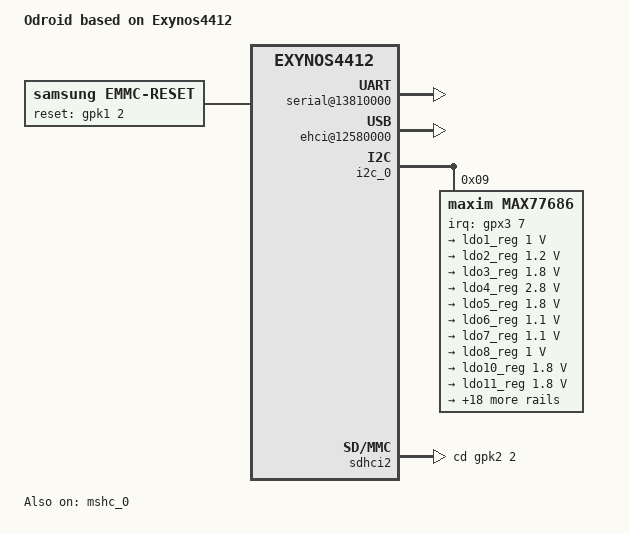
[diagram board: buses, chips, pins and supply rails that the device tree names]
// SPDX-License-Identifier: GPL-2.0+
/*
 * Odroid-U3/X2 board device tree source
 *
 * Copyright (c) 2014 Samsung Electronics Co., Ltd.
 *		http://www.samsung.com
 */

/dts-v1/;
#include "exynos4412.dtsi"

/ {
	model = "Odroid based on Exynos4412";
	compatible = "samsung,odroid", "samsung,exynos4412";

	aliases {
		serial0 = "/serial@13800000";
		console = "/serial@13810000";
		mmc0 = &mshc_0;
		mmc1 = &sdhci2;
	};

	serial@13810000 {
		status = "okay";
	};

	ehci@12580000 {
		compatible = "samsung,exynos-ehci";
		reg = <0x12580000 0x100>;
		#address-cells = <1>;
		#size-cells = <1>;
		phy {
			compatible = "samsung,exynos-usb-phy";
			reg = <0x125B0000 0x100>;
		};
	};

	emmc-reset {
		compatible = "samsung,emmc-reset";
		reset-gpio = <&gpk1 2 0>;
	};
};

&i2c_0 {
	samsung,i2c-sda-delay = <100>;
	samsung,i2c-slave-addr = <0x10>;
	samsung,i2c-max-bus-freq = <100000>;
	status = "okay";

	max77686: max77686_pmic@09 {
		compatible = "maxim,max77686";
		interrupt-parent = <&gpx3>;
		interrupts = <7 0>;
		reg = <0x09 0 0>;
		#clock-cells = <1>;

		voltage-regulators {
			ldo1_reg: LDO1 {
				regulator-name = "VDD_ALIVE_1.0V";
				regulator-min-microvolt = <1000000>;
				regulator-max-microvolt = <1000000>;
			};

			ldo2_reg: LDO2 {
				regulator-name = "VDDQ_VM1M2_1.2V";
				regulator-min-microvolt = <1200000>;
				regulator-max-microvolt = <1200000>;
			};

			ldo3_reg: LDO3 {
				regulator-name = "VCC_1.8V_AP";
				regulator-min-microvolt = <1800000>;
				regulator-max-microvolt = <1800000>;
			};

			ldo4_reg: LDO4 {
				regulator-name = "VDDQ_MMC2_2.8V";
				regulator-min-microvolt = <2800000>;
				regulator-max-microvolt = <2800000>;
			};

			ldo5_reg: LDO5 {
				regulator-name = "VDDQ_MMC0/1/3_1.8V";
				regulator-min-microvolt = <1800000>;
				regulator-max-microvolt = <1800000>;
			};

			ldo6_reg: LDO6 {
				regulator-name = "VMPLL_1.0V";
				regulator-min-microvolt = <1100000>;
				regulator-max-microvolt = <1100000>;
			};

			ldo7_reg: LDO7 {
				regulator-name = "VPLL_1.1V";
				regulator-min-microvolt = <1100000>;
				regulator-max-microvolt = <1100000>;
			};

			ldo8_reg: LDO8 {
				regulator-name = "VDD_MIPI/HDMI_1.0V";
				regulator-min-microvolt = <1000000>;
				regulator-max-microvolt = <1000000>;
			};

			ldo10_reg: LDO10 {
				regulator-name = "VDD_MIPI/HDMI_1.8V";
				regulator-min-microvolt = <1800000>;
				regulator-max-microvolt = <1800000>;
			};

			ldo11_reg: LDO11 {
				regulator-name = "VDD_ABB1_1.8V";
				regulator-min-microvolt = <1800000>;
				regulator-max-microvolt = <1800000>;
			};

			ldo12_reg: LDO12 {
				regulator-name = "VDD_UOTG_3.0V";
				regulator-min-microvolt = <3000000>;
				regulator-max-microvolt = <3000000>;
			};

			ldo13_reg: LDO13 {
				regulator-name = "VDD_C2C_1.8V";
				regulator-min-microvolt = <1800000>;
				regulator-max-microvolt = <1800000>;
			};

			ldo14_reg: LDO14 {
				regulator-name = "VDD_ABB02_1.8V";
				regulator-min-microvolt = <1800000>;
				regulator-max-microvolt = <1800000>;
			};

			ldo15_reg: LDO15 {
				regulator-name = "VDD_HSIC/OTG_1.0V";
				regulator-min-microvolt = <1000000>;
				regulator-max-microvolt = <1000000>;
			};

			ldo16_reg: LDO16 {
				regulator-name = "VDD_HSIC_1.8V";
				regulator-min-microvolt = <1800000>;
				regulator-max-microvolt = <1800000>;
			};

			ldo17_reg: LDO17 {
				regulator-name = "VDDQ_CAM_1.2V";
				regulator-min-microvolt = <1200000>;
				regulator-max-microvolt = <1200000>;
			};

			ldo20_reg: LDO20 {
				regulator-name = "VDDQ_EMMC_1.8V";
				regulator-min-microvolt = <1800000>;
				regulator-max-microvolt = <1800000>;
				regulator-always-on;
				regulator-boot-on;
			};

			ldo21_reg: LDO21 {
				regulator-name = "TFLASH_2.8V";
				regulator-min-microvolt = <2800000>;
				regulator-max-microvolt = <2800000>;
				regulator-always-on;
				regulator-boot-on;
			};

			ldo22_reg: LDO22 {
				regulator-name = "VDDQ_EMMC_2.8V";
				regulator-min-microvolt = <2800000>;
				regulator-max-microvolt = <2800000>;
				regulator-always-on;
				regulator-boot-on;
			};

			ldo25_reg: LDO25 {
				regulator-compatible = "LDO25";
				regulator-name = "VDDQ_LCD_3.0V";
				regulator-min-microvolt = <3000000>;
				regulator-max-microvolt = <3000000>;
			};

			buck1_reg: BUCK1 {
				regulator-name = "VDD_MIF_1.0V";
				regulator-min-microvolt = <8500000>;
				regulator-max-microvolt = <1100000>;
			};

			buck2_reg: BUCK2 {
				regulator-name = "VDD_ARM_1.0V";
				regulator-min-microvolt = <850000>;
				regulator-max-microvolt = <1500000>;
			};

			buck3_reg: BUCK3 {
				regulator-name = "VDD_INT_1.1V";
				regulator-min-microvolt = <850000>;
				regulator-max-microvolt = <1150000>;
			};

			buck4_reg: BUCK4 {
				regulator-name = "VDD_G3D_1.0V";
				regulator-min-microvolt = <850000>;
				regulator-max-microvolt = <1150000>;
			};

			buck5_reg: BUCK5 {
				regulator-name = "VDDQ_AP_1.2V";
				regulator-min-microvolt = <1200000>;
				regulator-max-microvolt = <1200000>;
			};

			buck6_reg: BUCK6 {
				regulator-name = "VCC_INL1/7_1.35V";
				regulator-min-microvolt = <1350000>;
				regulator-max-microvolt = <1350000>;
			};

			buck7_reg: BUCK7 {
				regulator-name = "VCC_INL2/3/5_2.0V";
				regulator-min-microvolt = <2000000>;
				regulator-max-microvolt = <2000000>;
			};

			buck8_reg: BUCK8 {
				regulator-name = "VCC_P3V3_2.85V";
				regulator-min-microvolt = <750000>;
				regulator-max-microvolt = <3300000>;
			};
		};
	};
};

&sdhci2 {
	samsung,bus-width = <4>;
	samsung,timing = <1 2 3>;
	cd-gpios = <&gpk2 2 0>;
	status = "okay";
};

&mshc_0 {
	samsung,bus-width = <8>;
	samsung,timing = <2 1 0>;
	samsung,removable = <0>;
	fifoth_val = <0x203f0040>;
	bus_hz = <400000000>;
	div = <0x3>;
	index = <4>;
	status = "okay";
};
